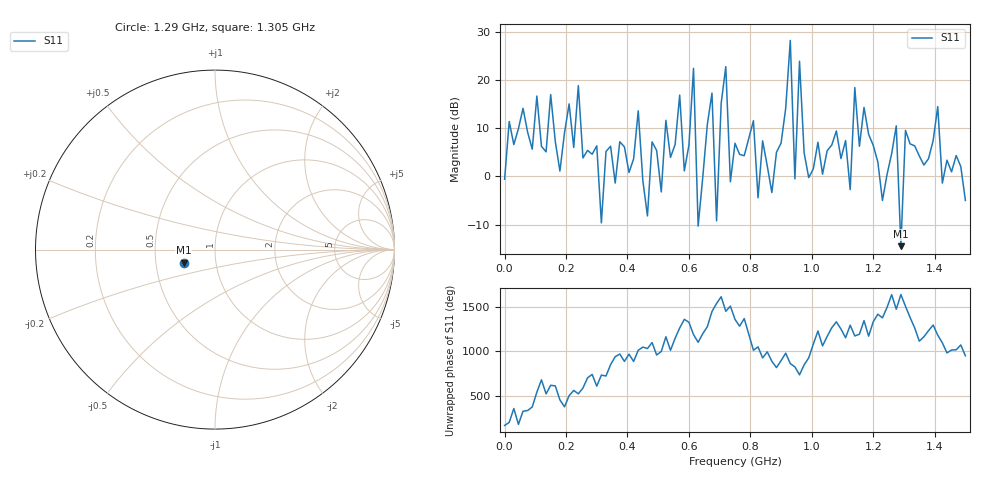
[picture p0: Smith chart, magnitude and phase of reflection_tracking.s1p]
! Created with skrf 1.8.0 (http://scikit-rf.org).
# Hz S RI R 50.0
!freq ReS11 ImS11
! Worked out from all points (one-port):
!   101 points, 50 kHz to 1.5 GHz, reference 50 ohm
!   lowest |S11| = -14.4 dB at 1.29 GHz (marker M1), VSWR 1.47, Z = 34.8 - j5.26 ohm
!   |S11| at or under -10 dB: 629.9027 MHz to 630.4392 MHz (536.4 kHz wide, 0.0851 % of centre); 1.287341 GHz to 1.292778 GHz (5.436 MHz wide, 0.421 % of centre)
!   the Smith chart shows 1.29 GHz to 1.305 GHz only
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50000  -0.9041 0.2438
6.0048e7  4.196 -2.86
1.050465e8  -6.802 -0.1326
1.950435e8  2.73 0.75
2.40042e8  -8.29 2.702
2.70041e8  1.772 -0.5793
3.750375e8  -0.7459 -2.165
5.70031e8  -6.93 -0.6635
6.0003e8  -0.7342 -1.971
6.150295e8  -4.619 12.33
6.30029e8  0.2809 0.1223
6.60028e8  -3.256 -1.2
6.750275e8  7.175 1.334
7.050265e8  -5.724 0.2215
7.20026e8  13.32 3.245
7.50025e8  0.4827 -2.155
9.150195e8  -0.7963 -5.006
9.30019e8  -20.52 15.32
9.450185e8  -0.2524 0.911
9.60018e8  14.97 4.385
9.750175e8  -1.102 1.372
1.125012e9  -0.5907 -0.4322
1.140012e9  -0.7431 8.293
1.170011e9  -0.1321 -5.189
1.18501e9  -0.1376 2.726
1.290007e9  -0.1753 -0.073
1.320006e9  1.192 -1.818
1.5e9  -0.3562 -0.439
